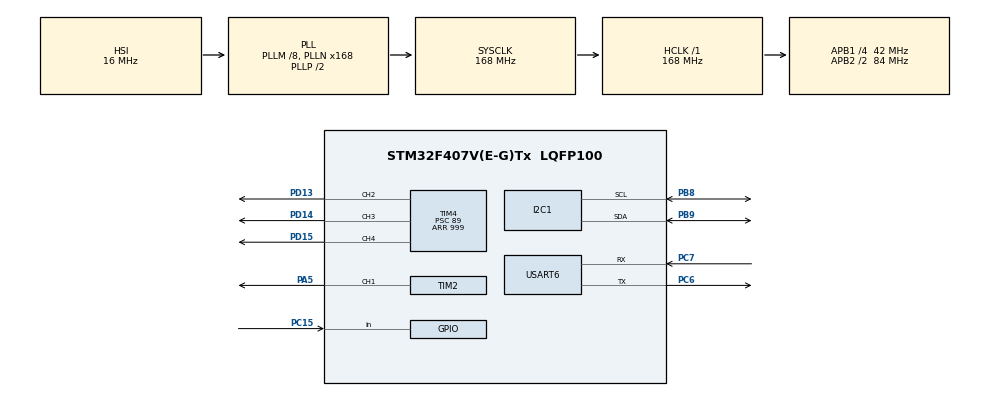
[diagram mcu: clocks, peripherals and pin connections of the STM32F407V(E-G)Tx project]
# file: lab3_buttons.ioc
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Mcu.Family=STM32F4
Mcu.Name=STM32F407V(E-G)Tx
Mcu.Package=LQFP100
NVIC.I2C1_ER_IRQn=true\:0\:0\:false\:false\:true\:true\:true
NVIC.I2C1_EV_IRQn=true\:0\:0\:false\:false\:true\:true\:true
NVIC.PriorityGroup=NVIC_PRIORITYGROUP_4
NVIC.TIM6_DAC_IRQn=true\:0\:0\:false\:false\:true\:true\:true
PA13.Mode=JTAG_5_pins
PA13.Signal=SYS_JTMS-SWDIO
PA14.Mode=JTAG_5_pins
PA14.Signal=SYS_JTCK-SWCLK
PA15.Mode=JTAG_5_pins
PA15.Signal=SYS_JTDI
PA5.Signal=S_TIM2_CH1_ETR
PB3.Mode=JTAG_5_pins
PB3.Signal=SYS_JTDO-SWO
PB4.Mode=JTAG_5_pins
PB4.Signal=SYS_JTRST
PB8.Mode=I2C
PB8.Signal=I2C1_SCL
PB9.Mode=I2C
PB9.Signal=I2C1_SDA
PC15-OSC32_OUT.Signal=GPIO_Input
PC6.Mode=Asynchronous
PC6.Signal=USART6_TX
PC7.Mode=Asynchronous
PC7.Signal=USART6_RX
PD13.Signal=S_TIM4_CH2
PD14.Signal=S_TIM4_CH3
PD15.Signal=S_TIM4_CH4
PH0-OSC_IN.Mode=HSE-External-Oscillator
PH0-OSC_IN.Signal=RCC_OSC_IN
PH1-OSC_OUT.Mode=HSE-External-Oscillator
PH1-OSC_OUT.Signal=RCC_OSC_OUT
ProjectManager.HeapSize=0x200
ProjectManager.StackSize=0x400
ProjectManager.TargetToolchain=STM32CubeIDE
RCC.48MHZClocksFreq_Value=84000000
RCC.AHBFreq_Value=168000000
RCC.APB1CLKDivider=RCC_HCLK_DIV4
RCC.APB1Freq_Value=42000000
RCC.APB1TimFreq_Value=84000000
RCC.APB2CLKDivider=RCC_HCLK_DIV2
RCC.APB2Freq_Value=84000000
RCC.APB2TimFreq_Value=168000000
RCC.CortexFreq_Value=168000000
RCC.HCLKFreq_Value=168000000
RCC.HSE_VALUE=25000000
RCC.HSI_VALUE=16000000
RCC.LSE_VALUE=32768
RCC.PLLM=8
RCC.PLLN=168
RCC.SYSCLKFreq_VALUE=168000000
RCC.SYSCLKSource=RCC_SYSCLKSOURCE_PLLCLK
RCC.VCOOutputFreq_Value=336000000
SH.S_TIM2_CH1_ETR.0=TIM2_CH1,PWM Generation1 CH1
SH.S_TIM4_CH2.0=TIM4_CH2,PWM Generation2 CH2
SH.S_TIM4_CH3.0=TIM4_CH3,PWM Generation3 CH3
SH.S_TIM4_CH4.0=TIM4_CH4,PWM Generation4 CH4
TIM2.Channel-PWM\ Generation1\ CH1=TIM_CHANNEL_1
TIM2.Period=10
TIM4.Channel-PWM\ Generation2\ CH2=TIM_CHANNEL_2
TIM4.Channel-PWM\ Generation3\ CH3=TIM_CHANNEL_3
TIM4.Channel-PWM\ Generation4\ CH4=TIM_CHANNEL_4
TIM4.Period=999
TIM4.Prescaler=89
TIM4.Pulse-PWM\ Generation2\ CH2=200
TIM6.Period=100
TIM6.Prescaler=16000
USART6.VirtualMode=VM_ASYNC
VP_TIM6_VS_ClockSourceINT.Mode=Enable_Timer
board=custom

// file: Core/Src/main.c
/* USER CODE BEGIN Header */
/* USER CODE END Header */
#include "main.h"
#include "i2c.h"
#include "tim.h"
#include "usart.h"
#include "gpio.h"

/* USER CODE BEGIN Includes */
#include <stdio.h>
#include "buzzer.h"
#include "sdk_uart.h"
#include "kb.h"
/* USER CODE END Includes */

/* USER CODE BEGIN PTD */
enum MainState {
	MS_IDLE, MS_PLAY, MS_EDIT,
};
/* USER CODE END PTD */

/* USER CODE BEGIN PD */
#define FIFO_BUFFER_SIZE 32
/* USER CODE END PD */

/* USER CODE BEGIN PV */
uint8_t event_buf[FIFO_BUFFER_SIZE];
size_t write_ptr = 0;
size_t read_ptr = 0;
int btn_state_prev = 0;
uint8_t loop_confirmed = 0;
int btn_state = 0;
char print_buf[256];
uint8_t BOUNCE_LIMIT = 10;
/* USER CODE END PV */

void SystemClock_Config(void);

/* USER CODE BEGIN 0 */

void init_buffer() {
	for (size_t i = 0; i < FIFO_BUFFER_SIZE; ++i)
		event_buf[i] = 0;
}

void append_buffer(uint8_t num) {
	event_buf[write_ptr] = num;
	write_ptr = (write_ptr + 1) % FIFO_BUFFER_SIZE;
}

int read_buffer() {
	if (read_ptr == write_ptr) {
		return -1;
	}
	uint8_t num = event_buf[read_ptr];
	read_ptr = (read_ptr + 1) % FIFO_BUFFER_SIZE;
	return num;
}

void KB_Test(void) {
	static uint8_t const rows[4] = { 0xF7, 0x7B, 0x3D, 0x1E };
	static int current_row = 0;
	static int row_result[4] = { 0, 0, 0, 0 };

	if (ks_state == 0) {
		if (row_result[current_row] != ks_result) {
			uint8_t keyNum = 0;
			if (ks_result & 1) {
				append_buffer(3 * current_row + 1);
			}
			if (ks_result & 2) {
				append_buffer(3 * current_row + 2);
			}
			if (ks_result & 4) {
				append_buffer(3 * current_row + 3);
			}
		}

		row_result[current_row] = ks_result;
		current_row = (current_row + 1) % 4;
		ks_current_row = rows[current_row];
		keyboard_read();
	}
}

void HAL_I2C_MemTxCpltCallback(I2C_HandleTypeDef *hi2c) {
	if (hi2c == &hi2c1 && ks_state) {
		keyboard_read();
	}
}

void HAL_I2C_MemRxCpltCallback(I2C_HandleTypeDef *hi2c) {
	if (hi2c == &hi2c1 && ks_state) {
		keyboard_read();
	}
}

void HAL_TIM_PeriodElapsedCallback(TIM_HandleTypeDef *htim) {
	if (htim->Instance == TIM6) {
		KB_Test();
	}
}

uint8_t is_button_pressed()
{
  static uint8_t bounce_counter = 0;
  static uint8_t btn_pressed = 0;

  if (HAL_GPIO_ReadPin(GPIOC, GPIO_PIN_15) == GPIO_PIN_RESET) {
    if (bounce_counter <= BOUNCE_LIMIT)
      bounce_counter++;
  } else {
    if (bounce_counter > 0)
      bounce_counter--;
  }

  if (!btn_pressed && bounce_counter >= BOUNCE_LIMIT){
    btn_pressed = 1;
  }

  else if (btn_pressed && bounce_counter == 0)
    btn_pressed = 0;

  return btn_pressed;
}

void play_sound(uint16_t sound) {
	Buzzer_Set_Volume(BUZZER_VOLUME_MAX);
	Buzzer_Set_Freq(sound);
}

void __light_LED(GPIO_PinState pin13, GPIO_PinState pin14, GPIO_PinState pin15, uint16_t brightness) {
	htim4.Instance->CCR2 = brightness;
	HAL_GPIO_WritePin(GPIOD, GPIO_PIN_13, pin13);
	HAL_GPIO_WritePin(GPIOD, GPIO_PIN_14, pin14);
	HAL_GPIO_WritePin(GPIOD, GPIO_PIN_15, pin15);
};

//#region application

char* GAME_STARTED_MSG = "Game is started!\r\n";
char* GAME_STOPPED_MSG = "Game is stopped!\r\n";
char* GAME_SPEED_SLOW_MSG = "Set game speed to slow.\r\n";
char* GAME_SPEED_MEDIUM_MSG = "Set game speed to medium.\r\n";
char* GAME_SPEED_FAST_MSG = "Set game speed to fast.\r\n";
char* GAME_PLAYBACK_LEDS_MSG = "Set only LEDs mode for next game.\r\n";
char* GAME_PLAYBACK_SOUND_MSG = "Set only Sound mode for next game.\r\n";
char* GAME_PLAYBACK_LEDS_SOUND_MSG = "Set LEDs and Sound mode for next game.\r\n";

typedef enum {
    red,
    green,
    yellow
} COLOR;

void init_LED(){
	HAL_TIM_OC_Start(&htim4, TIM_CHANNEL_2);
	HAL_TIM_OC_Start(&htim4, TIM_CHANNEL_3);
	HAL_TIM_OC_Start(&htim4, TIM_CHANNEL_4);
	HAL_TIM_PWM_Init(&htim4);
}

void light_off() {
	htim4.Instance->CCR2 = 0;
	htim4.Instance->CCR3 = 0;
	htim4.Instance->CCR4 = 0;
}

void light_LED(COLOR color, uint16_t brightness) {
	light_off();
	switch (color) {
	        case red:
	        	htim4.Instance->CCR4 = brightness;
	            break;
	        case green:
	        	htim4.Instance->CCR2 = brightness;
	            break;
	        case yellow:
	        	htim4.Instance->CCR3 = brightness;
	            break;
	    }
};

typedef enum {
    slow,
    medium,
    fast
} GAME_SPEED;

typedef enum {
    sound,
    leds,
    leds_sound
} PLAYBACK_MODE;

struct Impulse {
    COLOR color;
    uint16_t brightness;
    uint16_t sound;
    uint8_t code;
};

struct Impulse impulse_1 = { color: red, brightness: 200, code: 1, sound: 500 };
struct Impulse impulse_2 = { color: red, brightness: 500, code: 2, sound: 700 };
struct Impulse impulse_3 = { color: red, brightness: 1000, code: 3, sound: 900 };
struct Impulse impulse_4 = { color: green, brightness: 200, code: 4, sound: 1100 };
struct Impulse impulse_5 = { color: green, brightness: 500, code: 5, sound: 1300 };
struct Impulse impulse_6 = { color: green, brightness: 1000, code: 6, sound: 1500 };
struct Impulse impulse_7 = { color: yellow, brightness: 200, code: 7, sound: 1700 };
struct Impulse impulse_8 = { color: yellow, brightness: 500, code: 8, sound: 1850 };
struct Impulse impulse_9 = { color: yellow, brightness: 1000, code: 9, sound: 2000 };

struct Trace {
    uint8_t code;
    uint8_t is_correct;
    uint8_t is_registered;
};

struct Trace default_trace = {0,0,0};

struct State {
    uint8_t is_started;
    PLAYBACK_MODE playback_mode;
    GAME_SPEED game_speed;
    uint32_t speed_duration;
    struct Impulse game_sequence[20];
    struct Trace game_trace[20];
    uint8_t current_step;
    uint8_t sequence_length;
    uint32_t prev_loop_time;
};

void select_next_playback_mode(struct State* state) {
    state->playback_mode = (state->playback_mode + 1) % 3;
    switch (state->playback_mode) {
        case leds:
            UART_Transmit(GAME_PLAYBACK_LEDS_MSG);
            break;
        case sound:
            UART_Transmit(GAME_PLAYBACK_SOUND_MSG);
            break;
        case leds_sound:
            UART_Transmit(GAME_PLAYBACK_LEDS_SOUND_MSG);
            break;
    }
}

void select_next_game_speed(struct State* state) {
    state->game_speed = (state->game_speed + 1) % 3;
    switch (state->game_speed) {
        case slow:
            state->speed_duration = 1600;
            UART_Transmit(GAME_SPEED_SLOW_MSG);
            break;
        case medium:
            state->speed_duration = 800;
            UART_Transmit(GAME_SPEED_MEDIUM_MSG);
            break;
        case fast:
            state->speed_duration = 400;
            UART_Transmit(GAME_SPEED_FAST_MSG);
            break;
    }
}

void print_results(struct State* state) {
	int points = 0;
    for (int i = 0; i < state->sequence_length; i++) {
        char msg[32];
        sprintf(&msg, "%d. Pressed %d (%d)\r\n", i+1, state->game_trace[i].code, state->game_trace[i].is_correct);
        UART_Transmit((const char*) &msg);
        points += state->game_trace[i].is_correct;
    }
    char msg[32];
    sprintf(&msg, "Earned points: %d\r\n", points);
    UART_Transmit((const char*) &msg);
}

void init_game_state(struct State* state){
		loop_confirmed = 0;
		state->prev_loop_time = HAL_GetTick();
	    state->game_sequence[0] = impulse_1;
	    state->game_sequence[1] = impulse_2;
	    state->game_sequence[2] = impulse_3;
	    state->game_sequence[3] = impulse_4;
	    state->game_sequence[4] = impulse_5;
	    state->game_sequence[5] = impulse_6;
	    state->game_sequence[6] = impulse_7;
	    state->game_sequence[7] = impulse_8;
	    state->game_sequence[8] = impulse_9;
	    state->game_sequence[9] = impulse_1;
	    state->game_sequence[10] = impulse_2;
	    state->game_sequence[11] = impulse_3;
	    state->game_sequence[12] = impulse_4;
	    state->game_sequence[13] = impulse_5;
	    state->game_sequence[14] = impulse_6;
	    state->game_sequence[15] = impulse_7;
	    state->game_sequence[16] = impulse_8;
	    state->game_sequence[17] = impulse_9;
	    state->game_sequence[18] = impulse_1;
	    state->game_sequence[19] = impulse_2;

	    state->game_trace[0] =  default_trace;
	    state->game_trace[1] =  default_trace;
	    state->game_trace[2] =  default_trace;
	    state->game_trace[3] =  default_trace;
	    state->game_trace[4] =  default_trace;
	    state->game_trace[5] =  default_trace;
	    state->game_trace[6] =  default_trace;
	    state->game_trace[7] =  default_trace;
	    state->game_trace[8] =  default_trace;
	    state->game_trace[9] =  default_trace;
	    state->game_trace[10] = default_trace;
	    state->game_trace[11] = default_trace;
	    state->game_trace[12] = default_trace;
	    state->game_trace[13] = default_trace;
	    state->game_trace[14] = default_trace;
	    state->game_trace[15] = default_trace;
	    state->game_trace[16] = default_trace;
	    state->game_trace[17] = default_trace;
	    state->game_trace[18] = default_trace;
	    state->game_trace[19] = default_trace;
	    state->current_step = -1;
}

void end_game(struct State* state){
	state->is_started = 0;
	light_off();
	Buzzer_Set_Volume(BUZZER_VOLUME_MUTE);
	print_results(state);
}

void switch_game_mode(struct State* state) {
    state->is_started = !state->is_started;
    if (state->is_started) {
        init_game_state(state);
        UART_Transmit(GAME_STARTED_MSG);
    } else {
    	end_game(state);
        UART_Transmit(GAME_STOPPED_MSG);
    }
}

void handle_game_key(struct State* state, uint8_t key) {
	snprintf(print_buf, sizeof(print_buf), "Pressed key = %d\r\n", key);
	UART_Transmit((uint8_t*) print_buf);
    struct Impulse impulse = state->game_sequence[state->current_step];
    struct Trace *trace = &state->game_trace[state->current_step];
    if (!trace->is_registered) {
        trace->code = key;
        trace->is_correct = impulse.code == trace->code;
    }
}

void print_key_description(uint8_t key) {
	snprintf(print_buf, sizeof(print_buf), "Pressed key = %d\r\n", key);
	UART_Transmit((uint8_t*) print_buf);
}

void handle_program_key(struct State* state, uint8_t key) {
    if (state->is_started) {
        handle_game_key(state, key);
    } else {
        print_key_description(key);
    }
}

void confirm_loop_sync(struct State* state) {
    if (state->prev_loop_time + state->speed_duration < HAL_GetTick()) {
        loop_confirmed = 1;
        state->prev_loop_time = HAL_GetTick();
    }
}

void game_loop(struct State* state) {
	confirm_loop_sync(state);
    if (!state->is_started || !loop_confirmed)
        return;
    state->current_step++;
    if (state->current_step < state->sequence_length) {
        struct Impulse impulse = state->game_sequence[state->current_step];
        switch (state->playback_mode) {
            case leds:
                light_LED(impulse.color, impulse.brightness);
                break;
            case sound:
                play_sound(impulse.sound);
                break;
            case leds_sound:
                play_sound(impulse.sound);
                light_LED(impulse.color, impulse.brightness);
                break;
        }
    } else {
        end_game(state);
    }
    loop_confirmed = 0;
}

void init_state(struct State* state) {
    state->is_started = 0;
    state->playback_mode = leds_sound;
    state->game_speed = medium;
    state->speed_duration = 1000;
    state->sequence_length = 20;
    init_game_state(state);
}

void handle_command(struct State* state, uint8_t code) {
    switch (code) {
        case 12:
            switch_game_mode(state);
            break;
        case 11:
            select_next_playback_mode(state);
            break;
        case 10:
            select_next_game_speed(state);
            break;
        case -1:
        	return;
        default:
            handle_program_key(state, code);
            break;
    }
}

//#endregion
/* USER CODE END 0 */

int main(void)
{

  /* MCU Configuration--------------------------------------------------------*/

  /* Reset of all peripherals, Initializes the Flash interface and the Systick. */
  HAL_Init();

  /* Configure the system clock */
  SystemClock_Config();

  /* Initialize all configured peripherals */
  MX_GPIO_Init();
  MX_USART6_UART_Init();
  MX_TIM4_Init();
  MX_TIM6_Init();
  MX_TIM2_Init();
  MX_I2C1_Init();
  /* USER CODE BEGIN 2 */
	uint8_t is_test_mode = 1;
	Buzzer_Init();
	init_LED();
	HAL_TIM_Base_Start_IT(&htim6);

	init_buffer();
	struct State state = {};
	init_state(&state);

  /* USER CODE END 2 */

  /* Infinite loop */
  /* USER CODE BEGIN WHILE */
	for (;;) {
		if (is_button_pressed()) {
			while(is_button_pressed()){}
			is_test_mode ^= 1;
			if (is_test_mode) {
				UART_Transmit((uint8_t*) "*** KEYBOARD TEST MODE ***\r\n");
				Buzzer_Set_Volume(BUZZER_VOLUME_MUTE);
			} else {
				UART_Transmit((uint8_t*) "*** APPLICATION MODE ***\r\n");
			}
		}

		if (is_test_mode) {
			int key = read_buffer();
			if (key >= 0) {
				snprintf(print_buf, sizeof(print_buf), "Pressed key = %d\r\n", 13 - key);
				UART_Transmit((uint8_t*) print_buf);
			}
		} else {
			int cmd = read_buffer();
			if(cmd >= 0)
			handle_command(&state, 13 - cmd);
			game_loop(&state);
		}

    /* USER CODE END WHILE */

	}
}

void SystemClock_Config(void)
{
  RCC_OscInitTypeDef RCC_OscInitStruct = {0};
  RCC_ClkInitTypeDef RCC_ClkInitStruct = {0};

  /** Configure the main internal regulator output voltage
  */
  __HAL_RCC_PWR_CLK_ENABLE();
  __HAL_PWR_VOLTAGESCALING_CONFIG(PWR_REGULATOR_VOLTAGE_SCALE1);
  /** Initializes the RCC Oscillators according to the specified parameters
  * in the RCC_OscInitTypeDef structure.
  */
  RCC_OscInitStruct.OscillatorType = RCC_OSCILLATORTYPE_HSI;
  RCC_OscInitStruct.HSIState = RCC_HSI_ON;
  RCC_OscInitStruct.HSICalibrationValue = RCC_HSICALIBRATION_DEFAULT;
  RCC_OscInitStruct.PLL.PLLState = RCC_PLL_ON;
  RCC_OscInitStruct.PLL.PLLSource = RCC_PLLSOURCE_HSI;
  RCC_OscInitStruct.PLL.PLLM = 8;
  RCC_OscInitStruct.PLL.PLLN = 168;
  RCC_OscInitStruct.PLL.PLLP = RCC_PLLP_DIV2;
  RCC_OscInitStruct.PLL.PLLQ = 4;
  if (HAL_RCC_OscConfig(&RCC_OscInitStruct) != HAL_OK)
  {
    Error_Handler();
  }
  /** Initializes the CPU, AHB and APB buses clocks
  */
  RCC_ClkInitStruct.ClockType = RCC_CLOCKTYPE_HCLK|RCC_CLOCKTYPE_SYSCLK
                              |RCC_CLOCKTYPE_PCLK1|RCC_CLOCKTYPE_PCLK2;
  RCC_ClkInitStruct.SYSCLKSource = RCC_SYSCLKSOURCE_PLLCLK;
  RCC_ClkInitStruct.AHBCLKDivider = RCC_SYSCLK_DIV1;
  RCC_ClkInitStruct.APB1CLKDivider = RCC_HCLK_DIV4;
  RCC_ClkInitStruct.APB2CLKDivider = RCC_HCLK_DIV2;

  if (HAL_RCC_ClockConfig(&RCC_ClkInitStruct, FLASH_LATENCY_5) != HAL_OK)
  {
    Error_Handler();
  }
}

void Error_Handler(void)
{
}
